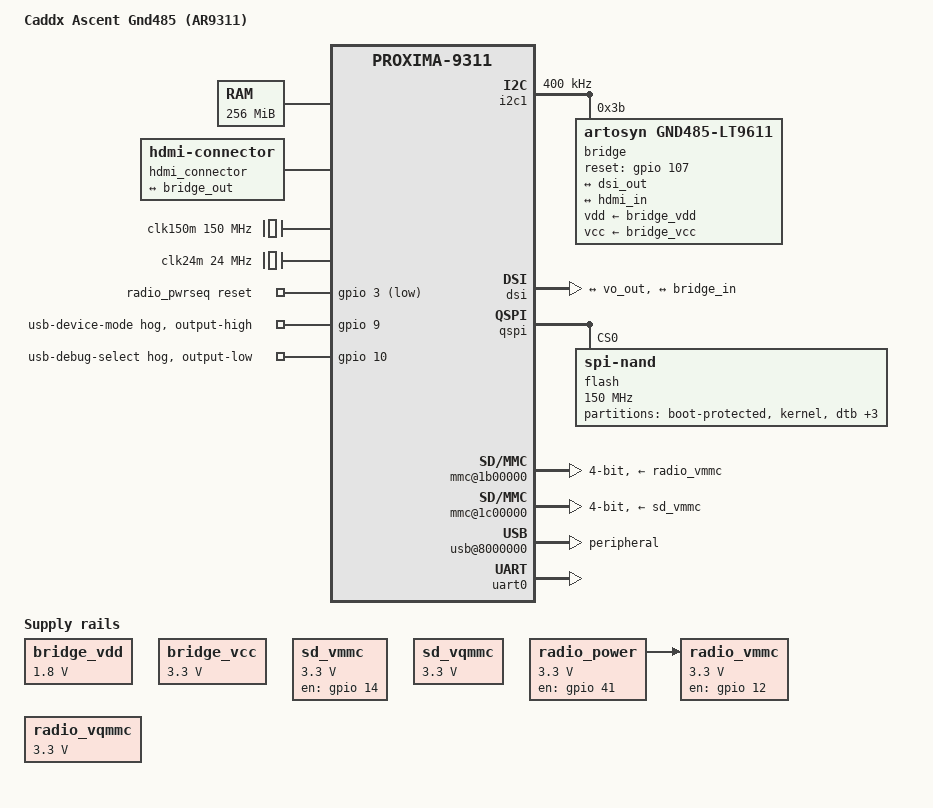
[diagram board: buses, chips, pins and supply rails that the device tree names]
// SPDX-License-Identifier: GPL-2.0-or-later
/*
 * Minimal Ascent Gnd485 RAM-boot device tree.
 * Register/IRQ geometry follows the board's vendor DT and UART observations.
 * CPU startup uses the stock Gnd485 PSCI firmware interface. UART clock
 * binding follows Missing-Lynk/ml-kernel e3885c6394a7025eacd3a23f473276d9823beb25.
 */
/dts-v1/;
#include <dt-bindings/interrupt-controller/arm-gic.h>
#include <dt-bindings/interrupt-controller/irq.h>
#include <dt-bindings/gpio/gpio.h>
#include <dt-bindings/clock/artosyn,ar9311-mmc.h>

/ {
	model = "Caddx Ascent Gnd485 (AR9311)";
	compatible = "caddx,ascent-gnd485", "artosyn,proxima-9311";
	#address-cells = <2>;
	#size-cells = <2>;
	interrupt-parent = <&gic>;

	aliases {
		serial0 = &uart0;
		i2c1 = &i2c1;
	};

	chosen {
		stdout-path = "serial0:1152000n8";
		bootargs = "console=ttyS0,1152000 earlycon loglevel=7 mem=256M rdinit=/init";
	};

	cpus {
		#address-cells = <2>;
		#size-cells = <0>;

		cpu@0 {
			device_type = "cpu";
			compatible = "arm,cortex-a53";
			reg = <0 0>;
			enable-method = "psci";
		};

		cpu@1 {
			device_type = "cpu";
			compatible = "arm,cortex-a53";
			reg = <0 1>;
			enable-method = "psci";
		};
	};

	/* Use the same lower 256 MiB as stock Linux on this 512 MiB board.
	 * The upper half is dedicated codec DMA memory, outside normal Linux RAM.
	 */
	memory@20000000 {
		device_type = "memory";
		reg = <0 0x20000000 0 0x10000000>;
	};

	reserved-memory {
		#address-cells = <2>;
		#size-cells = <2>;
		ranges;

		/* Preserve the secure-firmware range declared by the stock DT. */
		atf@23400000 {
			reg = <0 0x23400000 0 0x00c00000>;
			no-map;
		};

		/* Outside kernel/DT/initrd USB transfer destinations and the
		 * codec pool. Retained across warm resets, not power loss.
		 */
		ramoops@2ff00000 {
			compatible = "ramoops";
			reg = <0 0x2ff00000 0 0x00100000>;
			record-size = <0x20000>;
			console-size = <0x40000>;
			pmsg-size = <0x20000>;
			no-map;
		};

		/* Stock Gnd485 media MMZ: upper 256 MiB of physical DRAM,
		 * outside mem=256M Linux RAM. Only the codec owns this pool.
		 */
		codec_memory: codec-memory@30000000 {
			compatible = "shared-dma-pool";
			reg = <0 0x30000000 0 0x10000000>;
			no-map;
		};
	};

	hdmi_connector {
		compatible = "hdmi-connector";
		type = "a";
		port {
			hdmi_in: endpoint {
				remote-endpoint = <&bridge_out>;
			};
		};
	};

	/* Board supplies are already powered; no software rail switching. */
	bridge_vdd: regulator-bridge-vdd {
		compatible = "regulator-fixed";
		regulator-name = "bridge-vdd-always-on";
		regulator-min-microvolt = <1800000>;
		regulator-max-microvolt = <1800000>;
		regulator-always-on;
	};
	bridge_vcc: regulator-bridge-vcc {
		compatible = "regulator-fixed";
		regulator-name = "bridge-vcc-always-on";
		regulator-min-microvolt = <3300000>;
		regulator-max-microvolt = <3300000>;
		regulator-always-on;
	};

	psci {
		compatible = "arm,psci-1.0";
		method = "smc";
	};

	timer {
		compatible = "arm,armv8-timer";
		interrupts = <GIC_PPI 13 IRQ_TYPE_LEVEL_LOW>,
			     <GIC_PPI 14 IRQ_TYPE_LEVEL_LOW>,
			     <GIC_PPI 11 IRQ_TYPE_LEVEL_LOW>,
			     <GIC_PPI 10 IRQ_TYPE_LEVEL_LOW>;
		clock-frequency = <24000000>;
		always-on;
	};

	clk150m: clock-150m {
		compatible = "fixed-clock";
		#clock-cells = <0>;
		clock-frequency = <150000000>;
	};

	clk24m: clock-24m {
		compatible = "fixed-clock";
		#clock-cells = <0>;
		clock-frequency = <24000000>;
	};

	/* Gnd485 bank1 line13 (global GPIO36), high selects 3.3 V.
	 * Describe only 3.3 V until voltage switching and tuning are ported.
	 */
	sd_vmmc: regulator-sd-vmmc {
		compatible = "regulator-fixed";
		regulator-name = "sd-3v3";
		regulator-min-microvolt = <3300000>;
		regulator-max-microvolt = <3300000>;
		gpio = <&gpio 14 GPIO_ACTIVE_HIGH>;
		enable-active-high;
		regulator-boot-on;
		regulator-always-on;
	};

	sd_vqmmc: regulator-sd-vqmmc {
		compatible = "regulator-gpio";
		regulator-name = "sd-vqmmc";
		regulator-min-microvolt = <3300000>;
		regulator-max-microvolt = <3300000>;
		regulator-always-on;
		gpios = <&gpio 36 GPIO_ACTIVE_HIGH>;
		gpios-states = <1>;
		states = <3300000 1>;
	};

	radio_power: regulator-radio-power {
		compatible = "regulator-fixed";
		regulator-name = "radio-power";
		regulator-min-microvolt = <3300000>;
		regulator-max-microvolt = <3300000>;
		gpio = <&gpio 41 GPIO_ACTIVE_HIGH>;
		enable-active-high;
		regulator-boot-on;
		regulator-always-on;
		startup-delay-us = <100000>;
	};

	/* Gnd485 run.sh enables RF power on GPIO41 before sdio_cfg.sh.
	 * GPIO12 enables the radio's 3.3 V I/O,
	 * GPIO3 is its active-low reset (different from the VR04 goggle).
	 */
	radio_vmmc: regulator-radio-vmmc {
		compatible = "regulator-fixed";
		regulator-name = "radio-3v3";
		vin-supply = <&radio_power>;
		regulator-min-microvolt = <3300000>;
		regulator-max-microvolt = <3300000>;
		gpio = <&gpio 12 GPIO_ACTIVE_HIGH>;
		enable-active-high;
		regulator-boot-on;
		regulator-always-on;
		startup-delay-us = <100000>;
	};

	radio_vqmmc: regulator-radio-vqmmc {
		compatible = "regulator-gpio";
		regulator-name = "radio-vqmmc";
		regulator-min-microvolt = <3300000>;
		regulator-max-microvolt = <3300000>;
		gpios = <&gpio 35 GPIO_ACTIVE_HIGH>;
		gpios-states = <1>;
		states = <3300000 1>;
	};

	radio_pwrseq: radio-pwrseq {
		compatible = "artosyn,ar8030-pwrseq";
		reset-gpios = <&gpio 3 GPIO_ACTIVE_LOW>;
	};

	gic: interrupt-controller@201000 {
		compatible = "arm,gic-400";
		#interrupt-cells = <3>;
		#address-cells = <0>;
		interrupt-controller;
		reg = <0 0x00201000 0 0x1000>,
		      <0 0x00202000 0 0x2000>,
		      <0 0x00204000 0 0x2000>,
		      <0 0x00206000 0 0x2000>;
		interrupts = <GIC_PPI 9 IRQ_TYPE_LEVEL_HIGH>;
	};

	soc {
		compatible = "simple-bus";
		#address-cells = <2>;
		#size-cells = <2>;
		ranges;

		/* Stock h26x reference SRAM; stops before the GIC at 0x201000. */
		codec_sram: sram@1f0000 {
			compatible = "mmio-sram";
			reg = <0 0x001f0000 0 0x10000>;
		};

		video-codec@a080000 {
			compatible = "artosyn,ar9311-wave521c";
			reg = <0 0x0a080000 0 0x10000>,
			      <0 0x0a106000 0 0x210>,
			      <0 0x0a102000 0 0x20>,
			      <0 0x0a104018 0 4>;
			reg-names = "vpu", "media-crg", "isolation", "codec-clock";
			interrupts = <GIC_SPI 68 IRQ_TYPE_LEVEL_HIGH>;
			sram = <&codec_sram>;
			memory-region = <&codec_memory>;
		};

		/* Stock display/control buses. Pinmux and gates currently rely on
		 * early firmware.
		 */
		i2c1: i2c@1202000 {
			compatible = "snps,designware-i2c";
			reg = <0 0x01202000 0 0x2000>;
			interrupts = <GIC_SPI 33 IRQ_TYPE_LEVEL_HIGH>;
			clocks = <&clk150m>;
			clock-frequency = <400000>;
			i2c-sda-hold-time-ns = <300>;
			i2c-sda-falling-time-ns = <300>;
			i2c-scl-falling-time-ns = <300>;
			#address-cells = <1>;
			#size-cells = <0>;
			bridge@3b {
				compatible = "artosyn,gnd485-lt9611", "lontium,lt9611";
				reg = <0x3b>;
				reset-gpios = <&gpio 107 GPIO_ACTIVE_HIGH>;
				vdd-supply = <&bridge_vdd>;
				vcc-supply = <&bridge_vcc>;
				/* GPIO106 IRQ is not wired into Linux; poll connector status. */
				ports {
					#address-cells = <1>;
					#size-cells = <0>;
					port@0 {
						reg = <0>;
						bridge_in: endpoint {
							remote-endpoint = <&dsi_out>;
						};
					};
					port@2 {
						reg = <2>;
						bridge_out: endpoint {
							remote-endpoint = <&hdmi_in>;
						};
					};
				};
			};
		};

		vo: display@8810000 {
			compatible = "artosyn,gnd485-vo";
			reg = <0 0x08810000 0 0x10000>,
			      <0 0x0a10404c 0 4>,
			      <0 0x0a106018 0 4>;
			reg-names = "vo", "pixel-clock", "dc-crg";
			interrupts = <GIC_SPI 70 IRQ_TYPE_LEVEL_HIGH>;
			port {
				vo_out: endpoint {
					remote-endpoint = <&dsi_in>;
				};
			};
		};
		dsi: dsi@8850000 {
			compatible = "artosyn,gnd485-dsi";
			reg = <0 0x08850000 0 0x1000>;
			clocks = <&clk150m>;
			clock-names = "pclk";
			ports {
				#address-cells = <1>;
				#size-cells = <0>;
				port@0 {
					reg = <0>;
					dsi_in: endpoint {
						remote-endpoint = <&vo_out>;
					};
				};
				port@1 {
					reg = <1>;
					dsi_out: endpoint {
						remote-endpoint = <&bridge_in>;
					};
				};
			};
		};

		/* Preserve the vendor boot chain and active rootfs. Only the three
		 * explicitly named update regions are writable. */
		qspi: spi@1e00000 {
			compatible = "artosyn,ar9301-qspi";
			#address-cells = <1>;
			#size-cells = <0>;
			reg = <0 0x01e00000 0 0x1000>;
			reg-names = "qspi_base";
			clocks = <&clk150m>;
			flash@0 {
				compatible = "spi-nand";
				reg = <0>;
				spi-max-frequency = <150000000>;
				partitions {
					/* The parser maps these bank roles from validated GPT, not
					 * from a presumed stock-update parity. Never modifies GPT. */
					compatible = "fpvos,ar9311-partitions";
					#address-cells = <1>;
					#size-cells = <1>;
					partition@0 {
						label = "boot-protected";
						reg = <0x0 0xb40000>;
						read-only;
					};
					partition@b40000 {
						label = "kernel";
						reg = <0xb40000 0x600000>;
					};
					partition@1140000 {
						label = "dtb";
						reg = <0x1140000 0x60000>;
					};
					partition@11a0000 {
						label = "vendor-rootfs";
						reg = <0x11a0000 0x1500000>;
						read-only;
					};
					partition@26a0000 {
						label = "fpvos";
						reg = <0x26a0000 0x1500000>;
					};
					partition@3ba0000 {
						label = "vendor-data";
						reg = <0x3ba0000 0x4460000>;
						read-only;
					};
				};
			};
		};

		gpio: gpio@a10a000 {
			compatible = "caddx,gnd485-gpio", "artosyn,gpio";
			reg = <0 0x0a10a000 0 0x2000>;
			gpio-controller;
			#gpio-cells = <2>;

			/* Stock run.sh: keep the native USB connector in debug/device
			 * mode when the GPIO bank direction shadow becomes active.
			 */
			usb-device-hog {
				gpio-hog;
				gpios = <9 GPIO_ACTIVE_HIGH>;
				output-high;
				line-name = "usb-device-mode";
			};
			usb-debug-hog {
				gpio-hog;
				gpios = <10 GPIO_ACTIVE_HIGH>;
				output-low;
				line-name = "usb-debug-select";
			};
		};

		mmc_clocks: clock-controller@a104020 {
			compatible = "artosyn,ar9311-mmc-clock";
			reg = <0 0x0a104020 0 0x10>,
			      <0 0x0a108088 0 8>,
			      <0 0x0a1080c0 0 8>;
			#clock-cells = <1>;
			artosyn,clock-config = <0x87 2>, <0x80 0>;
		};

		/* Radio SDIO host; source clock and gates owned by CCF. */
		mmc@1b00000 {
			compatible = "artosyn,proxima-dw-mshc";
			reg = <0 0x01b00000 0 0x1000>;
			interrupts = <GIC_SPI 48 IRQ_TYPE_LEVEL_HIGH>;
			clock-frequency = <100000000>;
			clocks = <&clk150m>, <&mmc_clocks AR9311_CLK_SDMMC0>;
			clock-names = "biu", "ciu";
			max-frequency = <50000000>;
			bus-width = <4>;
			cap-sd-highspeed;
			cap-sdio-irq;
			broken-cd;
			no-mmc;
			no-sd;
			no-1-8-v;
			vmmc-supply = <&radio_vmmc>;
			vqmmc-supply = <&radio_vqmmc>;
			mmc-pwrseq = <&radio_pwrseq>;
		};

		/* Removable SD slot, from the Gnd485 vendor DT (not RF SDIO).
		 * Pinmux is still initialized by U-Boot; CCF owns the source clocks.
		 */
		mmc@1c00000 {
			compatible = "artosyn,proxima-dw-mshc";
			reg = <0 0x01c00000 0 0x1000>;
			interrupts = <GIC_SPI 49 IRQ_TYPE_LEVEL_HIGH>;
			clock-frequency = <100000000>;
			clocks = <&clk150m>, <&mmc_clocks AR9311_CLK_SDMMC1>;
			clock-names = "biu", "ciu";
			max-frequency = <50000000>;
			card-detect-delay = <200>;
			vmmc-supply = <&sd_vmmc>;
			vqmmc-supply = <&sd_vqmmc>;
			bus-width = <4>;
			cap-sd-highspeed;
			disable-wp;
			no-1-8-v;
			no-mmc;
			no-sdio;
		};

		/* Register, IRQ and FIFO layout from the stock Gnd485 DT.
		 * Early firmware leaves the USB clock and PHY initialized.
		 */
		usb@8000000 {
			compatible = "artosyn,ar9311-usb", "snps,dwc2";
			reg = <0 0x08000000 0 0x40000>;
			interrupts = <GIC_SPI 74 IRQ_TYPE_LEVEL_HIGH>;
			dr_mode = "peripheral";
			g-np-tx-fifo-size = <0x20>;
			g-rx-fifo-size = <0x300>;
			g-tx-fifo-size = <0x300 0x200 0x200 0x20 0x10
					  0x10 0x10 0x10 0x10 0x10>;
		};

		uart0: serial@1500000 {
			compatible = "snps,dw-apb-uart";
			reg = <0 0x01500000 0 0x400>;
			interrupts = <GIC_SPI 11 IRQ_TYPE_LEVEL_HIGH>;
			clocks = <&clk150m>;
			/* Keep earlycon's existing divisor; 8250_dw uses the clock
			 * and hardware fractional divisor for the normal console.
			 */
			reg-shift = <2>;
			reg-io-width = <4>;
		};

		watchdog@1600000 {
			compatible = "snps,dw-wdt";
			reg = <0 0x01600000 0 0x1000>;
			interrupts = <GIC_SPI 37 IRQ_TYPE_LEVEL_HIGH>;
			clocks = <&clk24m>;
			snps,watchdog-tops = <0x00010000 0x00020000 0x00040000 0x00080000
				0x00100000 0x00200000 0x00400000 0x00800000
				0x01000000 0x02000000 0x04000000 0x08000000
				0x10000000 0x20000000 0x40000000 0x80000000>;
		};
	};
};
